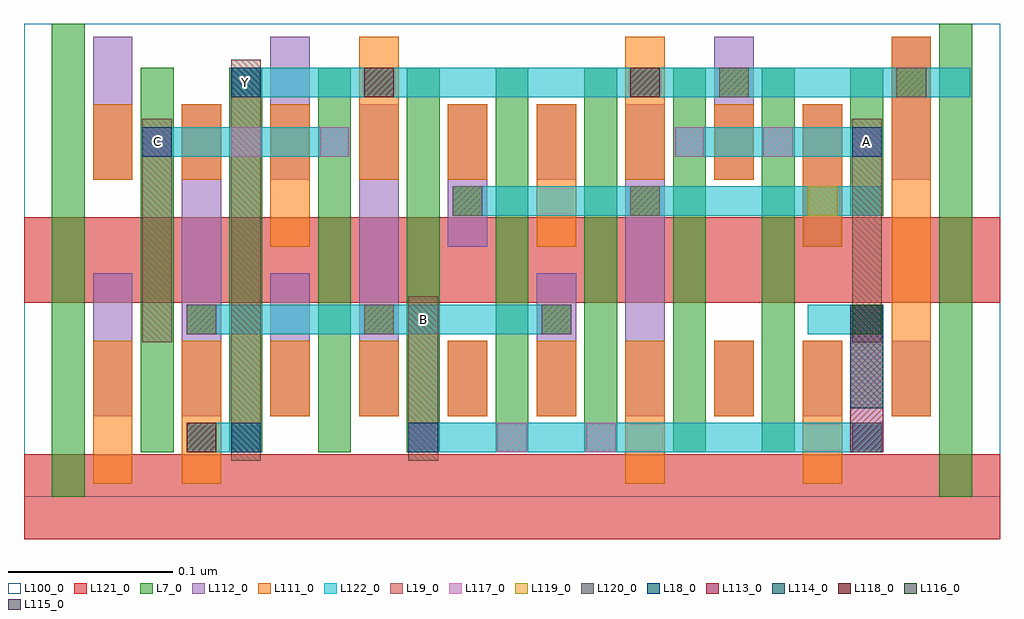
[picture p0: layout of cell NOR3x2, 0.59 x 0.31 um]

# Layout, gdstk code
import gdstk
lib = gdstk.Library(unit=1e-6, precision=2.5e-10)
def R(c, l, rs):  # rectangles x0, y0, x1, y1
    for r in rs: c.add(gdstk.rectangle(r[:2], r[2:], *l))
def A(c, l, x, y, w, h, nx, ny, dx, dy):  # array of equal rectangles
    R(c, l, [(x+i*dx, y+j*dy, x+i*dx+w, y+j*dy+h) for i in range(nx) for j in range(ny)])
L7_0 = (7, 0)
L18_0 = (18, 0)
L19_0 = (19, 0)
L100_0 = (100, 0)
L111_0 = (111, 0)
L112_0 = (112, 0)
L113_0 = (113, 0)
L114_0 = (114, 0)
L115_0 = (115, 0)
L116_0 = (116, 0)
L117_0 = (117, 0)
L118_0 = (118, 0)
L119_0 = (119, 0)
L120_0 = (120, 0)
L121_0 = (121, 0)
L122_0 = (122, 0)

nor3x2 = lib.new_cell('NOR3x2')
A(nor3x2, L7_0, 0.071, 0.027, 0.02, 0.117, 8, 2, 0.054, 0.117)
R(nor3x2, L7_0, [(0.017,0,0.037,0.144), (0.557,0,0.577,0.144), (0.017,0.144,0.037,0.288), (0.557,0.144,0.577,0.288), (0.503,0.171,0.523,0.261)])
R(nor3x2, L18_0, [(0.126,0.027,0.144,0.045), (0.234,0.027,0.252,0.045), (0.504,0.099,0.522,0.117), (0.072,0.207,0.09,0.225), (0.504,0.207,0.522,0.225), (0.126,0.243,0.144,0.261)])
R(nor3x2, L19_0, [(0.126,0.022,0.144,0.266), (0.234,0.022,0.252,0.122), (0.072,0.094,0.09,0.23), (0.504,0.094,0.522,0.23)])
R(nor3x2, L100_0, [(0,0,0.594,0.288)])
A(nor3x2, L111_0, 0.15, 0.049, 0.024, 0.046, 4, 1, 0.054, 0)
A(nor3x2, L111_0, 0.15, 0.152, 0.024, 0.087, 3, 1, 0.162, 0)
A(nor3x2, L111_0, 0.096, 0.193, 0.024, 0.046, 3, 1, 0.162, 0)
R(nor3x2, L111_0, [(0.042,0.008,0.066,0.095), (0.096,0.008,0.12,0.095), (0.366,0.008,0.39,0.095), (0.474,0.008,0.498,0.095), (0.42,0.049,0.444,0.095), (0.528,0.049,0.552,0.144), (0.528,0.144,0.552,0.28), (0.042,0.193,0.066,0.239), (0.204,0.193,0.228,0.28), (0.366,0.193,0.39,0.28)])
A(nor3x2, L112_0, 0.42, 0.049, 0.024, 0.046, 3, 1, 0.054, 0)
R(nor3x2, L112_0, [(0.042,0.049,0.066,0.136), (0.096,0.049,0.12,0.144), (0.15,0.049,0.174,0.136), (0.204,0.049,0.228,0.144), (0.258,0.049,0.282,0.095), (0.312,0.049,0.336,0.136), (0.366,0.049,0.39,0.144), (0.096,0.144,0.12,0.239), (0.204,0.144,0.228,0.239), (0.366,0.144,0.39,0.239), (0.258,0.152,0.282,0.239), (0.474,0.152,0.498,0.239), (0.042,0.193,0.066,0.28), (0.15,0.193,0.174,0.28), (0.312,0.193,0.336,0.239), (0.42,0.193,0.444,0.28), (0.528,0.193,0.552,0.28)])
R(nor3x2, L113_0, [(0.503,0.027,0.523,0.117)])
R(nor3x2, L114_0, [(0.503,0.054,0.523,0.117)])
R(nor3x2, L115_0, [(0.504,0.027,0.522,0.045)])
R(nor3x2, L116_0, [(0.504,0.099,0.522,0.117)])
A(nor3x2, L117_0, 0.234, 0.027, 0.018, 0.018, 3, 1, 0.054, 0)
A(nor3x2, L117_0, 0.072, 0.207, 0.018, 0.018, 3, 1, 0.054, 0)
A(nor3x2, L117_0, 0.396, 0.207, 0.018, 0.018, 3, 1, 0.054, 0)
R(nor3x2, L118_0, [(0.099,0.027,0.117,0.045), (0.207,0.243,0.225,0.261), (0.369,0.243,0.387,0.261)])
A(nor3x2, L119_0, 0.099, 0.099, 0.018, 0.018, 3, 1, 0.108, 0)
A(nor3x2, L119_0, 0.261, 0.171, 0.018, 0.018, 3, 1, 0.108, 0)
R(nor3x2, L119_0, [(0.423,0.243,0.441,0.261), (0.531,0.243,0.549,0.261)])
A(nor3x2, L120_0, 0.099, 0.099, 0.018, 0.018, 3, 1, 0.108, 0)
R(nor3x2, L120_0, [(0.261,0.171,0.279,0.189), (0.369,0.171,0.387,0.189), (0.423,0.243,0.441,0.261), (0.531,0.243,0.549,0.261)])
R(nor3x2, L121_0, [(0,-0.026,0.594,0.026), (0,0.118,0.594,0.17)])
R(nor3x2, L122_0, [(0.099,0.027,0.144,0.045), (0.234,0.027,0.522,0.045), (0.099,0.099,0.333,0.117), (0.477,0.099,0.522,0.117), (0.261,0.171,0.522,0.189), (0.072,0.207,0.198,0.225), (0.396,0.207,0.522,0.225), (0.126,0.243,0.576,0.261)])
nor3x2.add(gdstk.Label('Y', (0.135,0.252), layer=19, texttype=251))
nor3x2.add(gdstk.Label('C', (0.081,0.216), layer=19, texttype=251))
nor3x2.add(gdstk.Label('B', (0.243,0.108), layer=19, texttype=251))
nor3x2.add(gdstk.Label('A', (0.513,0.216), layer=19, texttype=251))

lib.write_gds('NOR3x2.gds')
